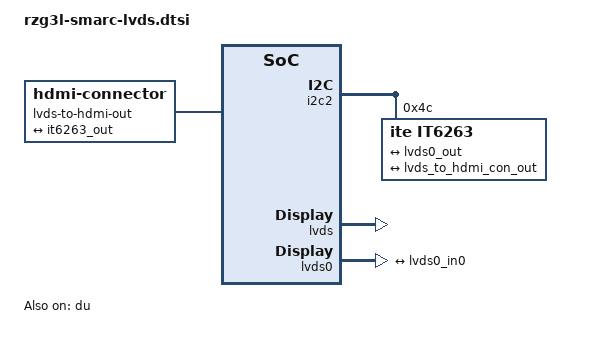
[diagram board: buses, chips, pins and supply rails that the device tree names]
// SPDX-License-Identifier: (GPL-2.0-only OR BSD-2-Clause)
/*
 * Device Tree Source for the RZ/G3L SMARC LVDS-HDMI
 *
 * Copyright (C) 2025 Renesas Electronics Corp.
 */

/ {
	lvds-to-hdmi-out {
		compatible = "hdmi-connector";
		type = "d";

		port {
			lvds_to_hdmi_con_out: endpoint {
				remote-endpoint = <&it6263_out>;
			};
		};
	};
};

&du {
	status = "okay";
};

&i2c2 {
	it6263: it6263@4c {
		compatible = "ite,it6263";
		reg = <0x4c>;
		data-mapping = "vesa-24";

		ports {
			#address-cells = <1>;
			#size-cells = <0>;

			port@0 {
				reg = <0>;
				lvds0_in0: endpoint@0 {
					remote-endpoint = <&lvds0_out>;
				};
			};

			port@2 {
				reg = <2>;
				it6263_out: endpoint@2 {
					remote-endpoint = <&lvds_to_hdmi_con_out>;
				};
			};
		};
	};
};

&lvds {
	status = "okay";
};

&lvds0 {
	status = "okay";

	ports {
		port@1 {
			lvds0_out: endpoint {
				remote-endpoint = <&lvds0_in0>;
			};
		};
	};
};
